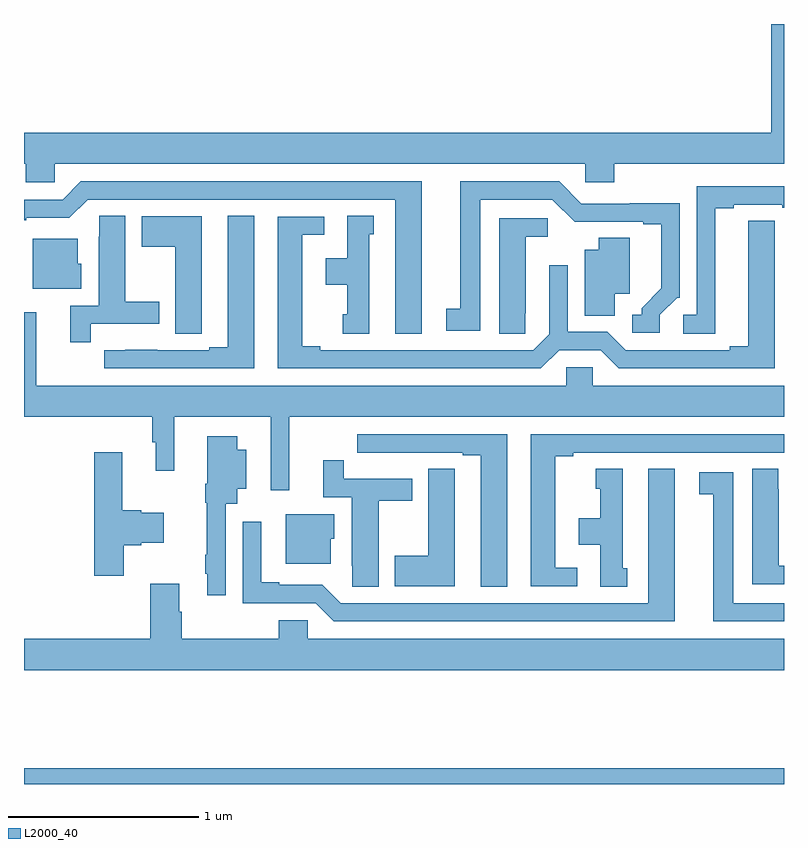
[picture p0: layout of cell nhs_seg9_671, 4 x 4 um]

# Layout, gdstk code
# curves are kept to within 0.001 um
import gdstk
lib = gdstk.Library(unit=1e-6, precision=1e-09)
def R(c, l, rs):  # rectangles x0, y0, x1, y1
    for r in rs: c.add(gdstk.rectangle(r[:2], r[2:], *l))
def P(c, l, *ps):  # polygons
    for p in ps: c.add(gdstk.Polygon(p, *l))
L2000_40 = (2000, 40)

nhs_seg9_671 = lib.new_cell('nhs_seg9_671')
R(nhs_seg9_671, L2000_40, [(145,1182.5,149,1182.584)])
P(nhs_seg9_671, L2000_40, [(145.161,1185.764),(147.954,1185.764),(147.954,1185.666),(148.106,1185.666),(148.106,1185.764),(149,1185.764),(149,1186.5),(148.934,1186.5),(148.934,1185.928),(145,1185.928),(145,1185.764),(145.01,1185.764),(145.01,1185.666),(145.161,1185.666)],
  [(147.094,1185.672),(145.299,1185.672),(145.203,1185.576),(145,1185.576),(145,1185.468),(145.012,1185.468),(145.012,1185.48),(145.239,1185.48),(145.335,1185.576),(146.954,1185.576),(146.954,1184.871),(147.094,1184.871)],
  [(148.347,1184.97),(148.437,1185.06),(148.452,1185.06),(148.452,1185.557),(148.189,1185.557),(148.189,1185.555),(147.933,1185.555),(147.816,1185.672),(147.296,1185.672),(147.296,1185.002),(147.222,1185.002),(147.222,1184.886),(147.4,1184.886),(147.4,1185.576),(147.78,1185.576),(147.898,1185.458),(148.259,1185.459),(148.259,1185.447),(148.355,1185.447),(148.355,1185.11),(148.25,1185.005),(148.25,1184.97),(148.2,1184.97),(148.2,1184.874),(148.347,1184.874)],
  [(148.639,1185.529),(148.735,1185.529),(148.735,1185.549),(148.991,1185.549),(148.991,1185.534),(149,1185.534),(149,1185.645),(148.542,1185.645),(148.542,1184.97),(148.47,1184.97),(148.47,1184.869),(148.639,1184.869)],
  [(146.818,1185.393),(146.842,1185.393),(146.842,1185.491),(146.702,1185.491),(146.702,1185.268),(146.588,1185.268),(146.588,1185.128),(146.702,1185.128),(146.702,1184.973),(146.678,1184.973),(146.678,1184.871),(146.818,1184.871)],
  [(145.352,1184.922),(145.711,1184.922),(145.711,1185.039),(145.534,1185.039),(145.534,1185.491),(145.395,1185.491),(145.395,1185.38),(145.394,1185.38),(145.394,1185.018),(145.244,1185.018),(145.244,1184.826),(145.352,1184.826)],
  [(146.212,1185.491),(146.072,1185.491),(146.072,1184.799),(145.976,1184.799),(145.976,1184.784),(145.7,1184.784),(145.7,1184.785),(145.534,1184.785),(145.534,1184.784),(145.422,1184.784),(145.422,1184.688),(146.212,1184.688)],
  [(145.935,1184.977),(145.936,1184.977),(145.936,1185.487),(145.619,1185.487),(145.619,1185.328),(145.796,1185.328),(145.796,1184.869),(145.935,1184.869)],
  [(147.817,1184.784),(148.035,1184.784),(148.131,1184.688),(148.951,1184.688),(148.95,1185.464),(148.811,1185.464),(148.811,1184.804),(148.715,1184.804),(148.715,1184.784),(148.167,1184.784),(148.071,1184.88),(147.861,1184.88),(147.861,1185.229),(147.765,1185.229),(147.765,1184.868),(147.681,1184.784),(146.56,1184.784),(146.56,1184.804),(146.464,1184.804),(146.464,1185.39),(146.581,1185.39),(146.581,1185.486),(146.336,1185.486),(146.336,1184.688),(147.721,1184.688)],
  [(147.639,1184.977),(147.64,1184.977),(147.64,1185.38),(147.757,1185.38),(147.757,1185.477),(147.5,1185.477),(147.5,1184.869),(147.639,1184.869)],
  [(148.108,1185.08),(148.189,1185.08),(148.189,1185.374),(148.025,1185.374),(148.025,1185.313),(147.95,1185.313),(147.95,1184.965),(148.108,1184.965)],
  [(145.3,1185.237),(145.282,1185.237),(145.282,1185.37),(145.046,1185.37),(145.046,1185.107),(145.3,1185.107)],
  [(146.396,1184.432),(149,1184.432),(149,1184.596),(147.993,1184.596),(147.993,1184.694),(147.855,1184.694),(147.855,1184.596),(145.064,1184.596),(145.064,1184.983),(145,1184.983),(145,1184.432),(145.675,1184.432),(145.675,1184.298),(145.694,1184.298),(145.694,1184.148),(145.792,1184.148),(145.792,1184.432),(146.298,1184.432),(146.298,1184.046),(146.396,1184.046)],
  [(147.544,1184.34),(146.754,1184.34),(146.754,1184.244),(146.866,1184.244),(146.866,1184.243),(147.032,1184.243),(147.032,1184.244),(147.308,1184.244),(147.308,1184.229),(147.404,1184.229),(147.404,1183.537),(147.544,1183.537)],
  [(147.913,1183.638),(147.796,1183.638),(147.796,1184.224),(147.892,1184.224),(147.892,1184.244),(149,1184.244),(149,1184.34),(147.668,1184.34),(147.668,1183.542),(147.913,1183.542)],
  [(146.061,1183.976),(146.122,1183.976),(146.122,1184.054),(146.17,1184.054),(146.17,1184.26),(146.122,1184.26),(146.122,1184.329),(145.964,1184.329),(145.964,1184.08),(145.953,1184.08),(145.953,1183.98),(145.963,1183.98),(145.963,1183.706),(145.953,1183.706),(145.953,1183.606),(145.964,1183.606),(145.964,1183.494),(146.061,1183.494)],
  [(145.524,1183.757),(145.617,1183.757),(145.617,1183.769),(145.735,1183.769),(145.735,1183.927),(145.617,1183.927),(145.617,1183.94),(145.516,1183.94),(145.516,1184.245),(145.37,1184.245),(145.37,1183.596),(145.524,1183.596)],
  [(146.866,1183.99),(147.043,1183.99),(147.043,1184.106),(146.684,1184.106),(146.684,1184.203),(146.576,1184.203),(146.576,1184.01),(146.726,1184.01),(146.726,1183.648),(146.727,1183.648),(146.727,1183.537),(146.866,1183.537)],
  [(149,1183.648),(148.972,1183.648),(148.972,1184.051),(148.971,1184.051),(148.971,1184.159),(148.832,1184.159),(148.832,1183.551),(149,1183.551)],
  [(147.268,1184.051),(147.267,1184.051),(147.267,1184.159),(147.128,1184.159),(147.128,1183.701),(146.951,1183.701),(146.951,1183.541),(147.268,1183.541)],
  [(148.426,1184.158),(148.286,1184.158),(148.286,1183.452),(146.667,1183.452),(146.571,1183.548),(146.344,1183.548),(146.344,1183.561),(146.248,1183.561),(146.248,1183.879),(146.151,1183.879),(146.151,1183.452),(146.535,1183.452),(146.631,1183.356),(148.426,1183.356)],
  [(148.174,1183.635),(148.15,1183.635),(148.15,1184.158),(148.01,1184.158),(148.01,1184.055),(148.034,1184.055),(148.034,1183.9),(147.92,1183.9),(147.92,1183.76),(148.034,1183.76),(148.034,1183.537),(148.174,1183.537)],
  [(149,1183.452),(148.732,1183.452),(148.732,1184.142),(148.554,1184.142),(148.554,1184.026),(148.628,1184.026),(148.628,1183.356),(149,1183.356)],
  [(146.614,1183.791),(146.632,1183.791),(146.632,1183.921),(146.378,1183.921),(146.378,1183.658),(146.614,1183.658)],
  [(149,1183.264),(146.493,1183.264),(146.493,1183.362),(146.342,1183.362),(146.342,1183.264),(145.829,1183.264),(145.829,1183.406),(145.816,1183.406),(145.816,1183.555),(145.664,1183.555),(145.664,1183.264),(145,1183.264),(145,1183.1),(149,1183.1)])

lib.write_gds('nhs_seg9_671.gds')
